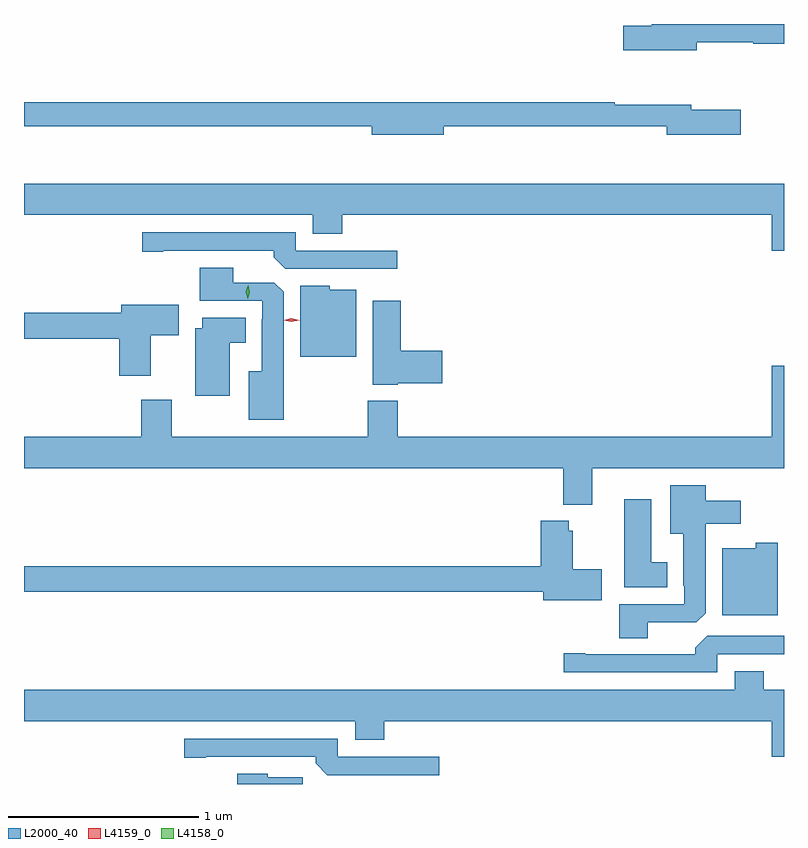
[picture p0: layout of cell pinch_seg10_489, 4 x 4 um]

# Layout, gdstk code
import gdstk
lib = gdstk.Library(unit=1e-6, precision=1e-09)
def P(c, l, *ps):  # polygons
    for p in ps: c.add(gdstk.Polygon(p, *l))
L2000_40 = (2000, 40)
L4158_0 = (4158, 0)
L4159_0 = (4159, 0)

pinch_seg10_489 = lib.new_cell('pinch_seg10_489')
P(pinch_seg10_489, L2000_40, [(212.566,1289.238),(212.862,1289.238),(212.862,1289.23),(213.024,1289.23),(213.024,1289.333),(212.327,1289.333),(212.327,1289.325),(212.178,1289.325),(212.178,1289.195),(212.566,1289.195)],
  [(211.234,1288.794),(212.408,1288.794),(212.408,1288.751),(212.797,1288.751),(212.797,1288.881),(212.536,1288.881),(212.536,1288.907),(212.132,1288.907),(212.132,1288.922),(209.024,1288.922),(209.024,1288.794),(210.854,1288.794),(210.854,1288.751),(211.234,1288.751)],
  [(213.024,1288.492),(209.024,1288.492),(209.024,1288.328),(210.545,1288.328),(210.545,1288.229),(210.698,1288.229),(210.698,1288.328),(212.96,1288.328),(212.96,1288.14),(213.024,1288.14)],
  [(210.988,1288.14),(210.453,1288.14),(210.453,1288.236),(209.646,1288.236),(209.646,1288.135),(209.758,1288.135),(209.758,1288.14),(210.338,1288.14),(210.338,1288.106),(210.399,1288.044),(210.988,1288.044)],
  [(210.391,1287.923),(210.342,1287.972),(210.124,1287.972),(210.124,1288.051),(209.948,1288.051),(209.948,1287.876),(210.279,1287.876),(210.279,1287.779),(210.275,1287.779),(210.275,1287.505),(210.206,1287.505),(210.206,1287.251),(210.391,1287.251)],
  [(210.772,1287.934),(210.633,1287.934),(210.633,1287.955),(210.479,1287.955),(210.479,1287.581),(210.772,1287.581)],
  [(210.99,1287.443),(211.225,1287.443),(211.225,1287.614),(211.007,1287.614),(211.007,1287.877),(210.86,1287.877),(210.86,1287.434),(210.99,1287.434)],
  [(209.692,1287.694),(209.839,1287.694),(209.839,1287.856),(209.537,1287.856),(209.537,1287.812),(209.024,1287.812),(209.024,1287.676),(209.525,1287.676),(209.525,1287.483),(209.692,1287.483)],
  [(210.106,1287.656),(210.19,1287.656),(210.19,1287.787),(209.963,1287.787),(209.963,1287.733),(209.924,1287.733),(209.924,1287.377),(210.106,1287.377)],
  [(212.014,1286.996),(213.024,1286.996),(213.024,1287.535),(212.96,1287.535),(212.96,1287.16),(210.992,1287.16),(210.992,1287.349),(210.832,1287.349),(210.832,1287.16),(209.802,1287.16),(209.802,1287.355),(209.642,1287.355),(209.642,1287.16),(209.024,1287.16),(209.024,1286.996),(211.862,1286.996),(211.862,1286.804),(212.014,1286.804)],
  [(212.308,1286.184),(212.562,1286.184),(212.611,1286.233),(212.611,1286.702),(212.797,1286.702),(212.797,1286.824),(212.611,1286.824),(212.611,1286.905),(212.426,1286.905),(212.426,1286.651),(212.495,1286.651),(212.495,1286.377),(212.499,1286.377),(212.499,1286.28),(212.156,1286.28),(212.156,1286.101),(212.308,1286.101)],
  [(212.41,1286.5),(212.326,1286.5),(212.326,1286.833),(212.183,1286.833),(212.183,1286.369),(212.41,1286.369)],
  [(212.065,1286.463),(211.912,1286.463),(211.912,1286.665),(211.89,1286.665),(211.89,1286.719),(211.745,1286.719),(211.745,1286.48),(209.024,1286.48),(209.024,1286.344),(211.757,1286.344),(211.757,1286.3),(212.065,1286.3)],
  [(212.992,1286.602),(212.874,1286.602),(212.874,1286.575),(212.699,1286.575),(212.699,1286.222),(212.992,1286.222)],
  [(212.673,1286.016),(213.024,1286.016),(213.024,1286.112),(212.619,1286.112),(212.558,1286.05),(212.558,1286.016),(211.978,1286.016),(211.978,1286.021),(211.866,1286.021),(211.866,1285.92),(212.673,1285.92)],
  [(213.024,1285.828),(212.918,1285.828),(212.918,1285.927),(212.765,1285.927),(212.765,1285.828),(209.024,1285.828),(209.024,1285.664),(210.767,1285.664),(210.767,1285.565),(210.92,1285.565),(210.92,1285.664),(212.96,1285.664),(212.96,1285.476),(213.024,1285.476)],
  [(211.21,1285.476),(210.675,1285.476),(210.675,1285.572),(209.868,1285.572),(209.868,1285.471),(209.98,1285.471),(209.98,1285.476),(210.56,1285.476),(210.56,1285.442),(210.621,1285.38),(211.21,1285.38)],
  [(210.49,1285.369),(210.306,1285.369),(210.306,1285.387),(210.146,1285.387),(210.146,1285.333),(210.49,1285.333)])
P(pinch_seg10_489, L4158_0, [(210.201,1287.887),(210.201,1287.888),(210.192,1287.923),(210.204,1287.958),(210.204,1287.958),(210.204,1287.958),(210.212,1287.922),(210.201,1287.888)])
P(pinch_seg10_489, L4159_0, [(210.431,1287.765),(210.39,1287.774),(210.39,1287.775),(210.39,1287.775),(210.431,1287.785),(210.472,1287.775),(210.472,1287.775),(210.472,1287.775)])

lib.write_gds('pinch_seg10_489.gds')
